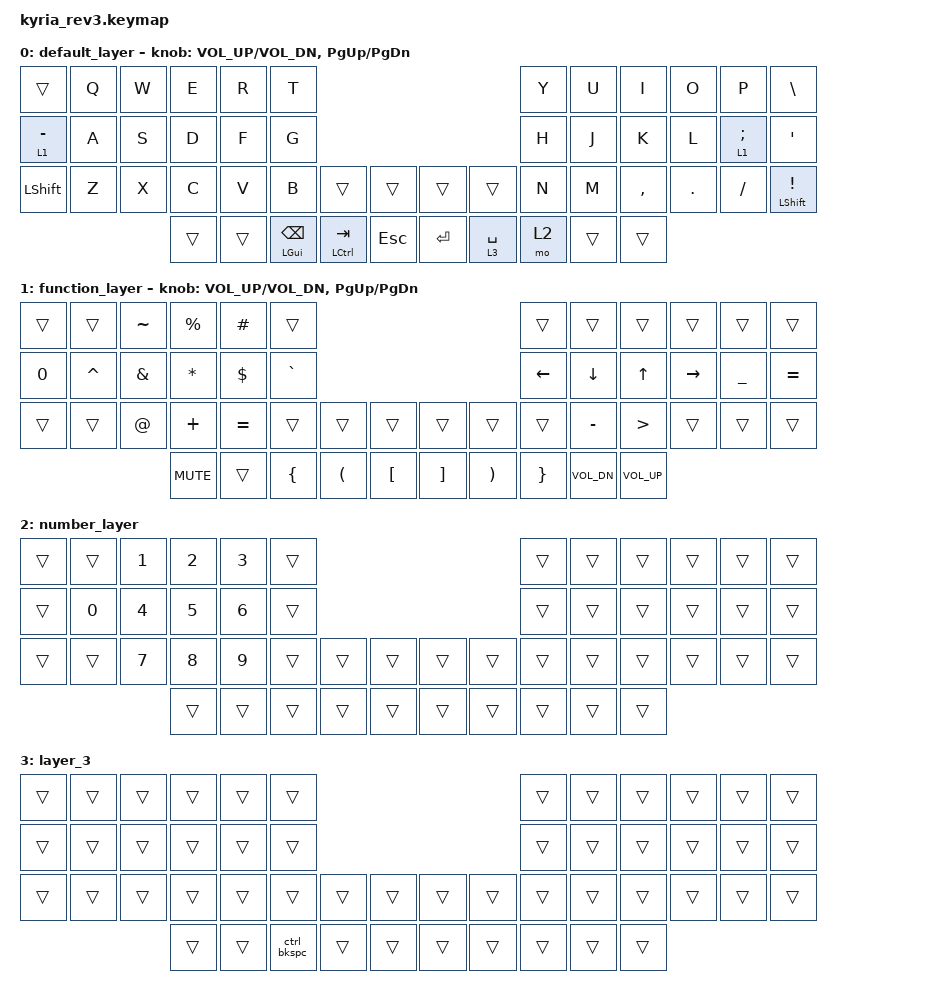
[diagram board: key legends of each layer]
/*
 * Copyright (c) 2023 The ZMK Contributors
 *
 * SPDX-License-Identifier: MIT
 */

#include <behaviors.dtsi>
#include <dt-bindings/zmk/keys.h>

/* Uncomment this block if using RGB
&led_strip {
    chain-length = <6>;
    // chain-length = <31>; // Uncomment if using both per-key and underglow LEDs
    // chain-length = <25>; // Uncomment if using only per-key LEDs.
};
 */

/ {
    macros {
        ctrl_bkspc: ctrl_bkspc {
            compatible = "zmk,behavior-macro";
            #binding-cells = <0>;
            bindings = <&kp LCTRL &kp BACKSPACE>;
            label = "CTRL_BKSPC";
        };
    };

    keymap {
        compatible = "zmk,keymap";

        default_layer {
            // ---------------------------------------------------------------------------------------------------------------------------------
            // |  ESC  |  Q  |  W  |  E   |  R   |  T   |                                          |  Y   |  U    |  I    |  O   |   P   |   \  |
            // |  TAB  |  A  |  S  |  D   |  F   |  G   |                                          |  H   |  J    |  K    |  L   |   ;   |   '  |
            // | SHIFT |  Z  |  X  |  C   |  V   |  B   | L SHIFT | L SHIFT |  | LAYER 1 | L SHIFT |  N   |  M    |  ,    |  .   |   /   | CTRL |
            //                     | GUI  | DEL  | RET  |  SPACE  |   ESC   |  |   RET   |  SPACE  | TAB  | BSPC  | R-ALT |

            bindings = <
&trans          &kp Q  &kp W  &kp E   &kp R   &kp T                                                                 &kp Y  &kp U   &kp I      &kp O    &kp P            &kp BSLH
&lt 1 MINUS     &kp A  &kp S  &kp D   &kp F   &kp G                                                                 &kp H  &kp J   &kp K      &kp L    &lt 1 SEMICOLON  &kp SQT
&kp LEFT_SHIFT  &kp Z  &kp X  &kp C   &kp V   &kp B                   &trans         &trans   &trans   &trans       &kp N  &kp M   &kp COMMA  &kp DOT  &kp FSLH         &mt LEFT_SHIFT EXCLAMATION
                              &trans  &trans  &mt LEFT_GUI BACKSPACE  &mt LCTRL TAB  &kp ESC  &kp RET  &lt 3 SPACE  &mo 2  &trans  &trans
            >;

            sensor-bindings = <&inc_dec_kp C_VOL_UP C_VOL_DN &inc_dec_kp PG_UP PG_DN>;
        };

        function_layer {
            // ---------------------------------------------------------------------------------------------------------------------------------
            // |       |      |BT_CLR|BTSEL0|BTSEL1|BTSEL2|                                         |      |      |      |      |      |      |
            // |       |      |      |BTSEL3|BTSEL4|      |                                         |      |      |      |      |      |      |
            // |       |      |      |      |      |      |      |      |      |      |      |      |      |      |      |      |      |      |
            //                       |      |      |      |      |      |      |      |      |      |      |      |      |

            bindings = <
&trans        &trans     &kp TILDE  &kp PRCNT   &kp POUND  &trans                                                                      &trans          &trans          &trans            &trans           &trans          &trans
&kp NUMBER_0  &kp CARET  &kp AMPS   &kp ASTRK   &kp DLLR   &kp GRAVE                                                                   &kp LEFT_ARROW  &kp DOWN_ARROW  &kp UP_ARROW      &kp RIGHT_ARROW  &kp UNDERSCORE  &kp EQUAL
&trans        &trans     &kp AT     &kp PLUS    &kp EQUAL  &trans     &trans                &trans    &trans    &trans                 &trans          &kp MINUS       &kp GREATER_THAN  &trans           &trans          &trans
                                    &kp K_MUTE  &trans     &kp LBRC   &kp LEFT_PARENTHESIS  &kp LBKT  &kp RBKT  &kp RIGHT_PARENTHESIS  &kp RBRC        &kp C_VOL_DN    &kp C_VOL_UP
            >;

            sensor-bindings = <&inc_dec_kp C_VOL_UP C_VOL_DN &inc_dec_kp PG_UP PG_DN>;
        };

        number_layer {
            bindings = <
&trans  &trans  &kp N1  &kp N2  &kp N3  &trans                                  &trans  &trans  &trans  &trans  &trans  &trans
&trans  &kp N0  &kp N4  &kp N5  &kp N6  &trans                                  &trans  &trans  &trans  &trans  &trans  &trans
&trans  &trans  &kp N7  &kp N8  &kp N9  &trans  &trans  &trans  &trans  &trans  &trans  &trans  &trans  &trans  &trans  &trans
                        &trans  &trans  &trans  &trans  &trans  &trans  &trans  &trans  &trans  &trans
            >;
        };

        layer_3 {
            bindings = <
&trans  &trans  &trans  &trans  &trans  &trans                                       &trans  &trans  &trans  &trans  &trans  &trans
&trans  &trans  &trans  &trans  &trans  &trans                                       &trans  &trans  &trans  &trans  &trans  &trans
&trans  &trans  &trans  &trans  &trans  &trans       &trans  &trans  &trans  &trans  &trans  &trans  &trans  &trans  &trans  &trans
                        &trans  &trans  &ctrl_bkspc  &trans  &trans  &trans  &trans  &trans  &trans  &trans
            >;
        };
    };
};
